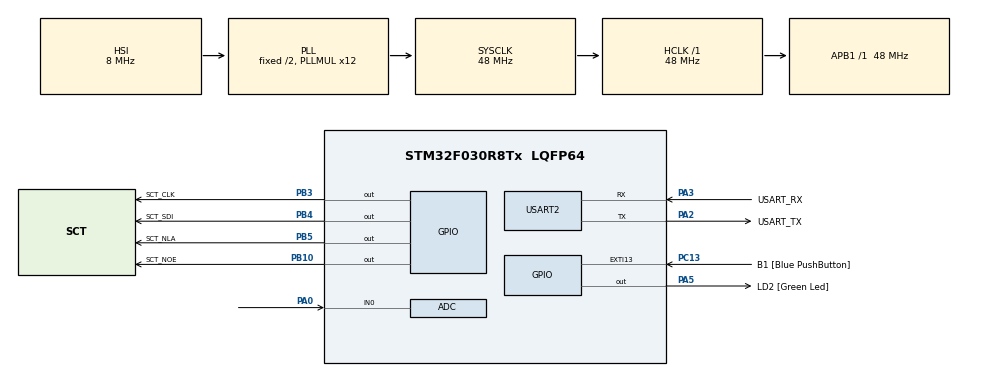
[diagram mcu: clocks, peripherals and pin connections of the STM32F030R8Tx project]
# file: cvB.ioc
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ADC.ContinuousConvMode=ENABLE
ADC.Overrun=ADC_OVR_DATA_OVERWRITTEN
ADC.SamplingTime=ADC_SAMPLETIME_239CYCLES_5
Mcu.Family=STM32F0
Mcu.Name=STM32F030R8Tx
Mcu.Package=LQFP64
NVIC.ADC1_IRQn=true\:0\:0\:false\:false\:true\:true\:true\:true
PA0.Mode=IN0
PA0.Signal=ADC_IN0
PA13.GPIO_Label=TMS
PA13.Mode=Serial_Wire
PA13.Signal=SYS_SWDIO
PA14.GPIO_Label=TCK
PA14.Mode=Serial_Wire
PA14.Signal=SYS_SWCLK
PA2.GPIO_Label=USART_TX
PA2.GPIO_Mode=GPIO_MODE_AF_PP
PA2.GPIO_PuPd=GPIO_NOPULL
PA2.GPIO_Speed=GPIO_SPEED_FREQ_LOW
PA2.Mode=Asynchronous
PA2.Signal=USART2_TX
PA3.GPIO_Label=USART_RX
PA3.GPIO_Mode=GPIO_MODE_AF_PP
PA3.GPIO_PuPd=GPIO_NOPULL
PA3.GPIO_Speed=GPIO_SPEED_FREQ_LOW
PA3.Mode=Asynchronous
PA3.Signal=USART2_RX
PA5.GPIO_Label=LD2 [Green Led]
PA5.GPIO_Mode=GPIO_MODE_OUTPUT_PP
PA5.GPIO_PuPd=GPIO_NOPULL
PA5.GPIO_Speed=GPIO_SPEED_FREQ_LOW
PA5.Signal=GPIO_Output
PB10.GPIO_Label=SCT_NOE
PB10.Signal=GPIO_Output
PB3.GPIO_Label=SCT_CLK
PB3.Signal=GPIO_Output
PB4.GPIO_Label=SCT_SDI
PB4.Signal=GPIO_Output
PB5.GPIO_Label=SCT_NLA
PB5.Signal=GPIO_Output
PC13.GPIO_Label=B1 [Blue PushButton]
PC13.GPIO_ModeDefaultEXTI=GPIO_MODE_IT_FALLING
PC13.Signal=GPXTI13
PC14-OSC32_IN.Mode=LSE-External-Oscillator
PC14-OSC32_IN.Signal=RCC_OSC32_IN
PC15-OSC32_OUT.Mode=LSE-External-Oscillator
PC15-OSC32_OUT.Signal=RCC_OSC32_OUT
PF0-OSC_IN.Mode=HSE-External-Clock-Source
PF0-OSC_IN.Signal=RCC_OSC_IN
PF1-OSC_OUT.Signal=RCC_OSC_OUT
ProjectManager.HeapSize=0x200
ProjectManager.StackSize=0x400
ProjectManager.TargetToolchain=STM32CubeIDE
RCC.AHBFreq_Value=48000000
RCC.APB1Freq_Value=48000000
RCC.APB1TimFreq_Value=48000000
RCC.HCLKFreq_Value=48000000
RCC.PLLMUL=RCC_PLL_MUL12
RCC.SYSCLKFreq_VALUE=48000000
RCC.SYSCLKSource=RCC_SYSCLKSOURCE_PLLCLK
USART2.VirtualMode-Asynchronous=VM_ASYNC
board=NUCLEO-F030R8

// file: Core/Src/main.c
/* USER CODE BEGIN Header */
/**
  ******************************************************************************
  * @file           : main.c
  * @brief          : Main program body
  ******************************************************************************
  * @attention
  *
  * Copyright (c) 2025 STMicroelectronics.
  * All rights reserved.
  *
  * This software is licensed under terms that can be found in the LICENSE file
  * in the root directory of this software component.
  * If no LICENSE file comes with this software, it is provided AS-IS.
  *
  ******************************************************************************
  */
/* USER CODE END Header */
#include "main.h"

/* USER CODE BEGIN Includes */
#include "sct.h"
#include <stdio.h>
/* USER CODE END Includes */

/* USER CODE BEGIN PD */
#define ADC_Q 12
/* USER CODE END PD */

ADC_HandleTypeDef hadc;

UART_HandleTypeDef huart2;

/* USER CODE BEGIN PV */
volatile uint16_t raw_pot;
/* USER CODE END PV */

void SystemClock_Config(void);
static void MX_GPIO_Init(void);
static void MX_USART2_UART_Init(void);
static void MX_ADC_Init(void);

/* USER CODE BEGIN 0 */
void HAL_ADC_ConvCpltCallback (ADC_HandleTypeDef * hadc)
{
	static uint32_t avg_pot;
	raw_pot = avg_pot >> ADC_Q;
	avg_pot -= raw_pot;
	avg_pot += HAL_ADC_GetValue(hadc);

}

int _write(int file, char const *buf, int n)
{
	/* stdout redirection to UART2 */
	HAL_UART_Transmit(&huart2, (uint8_t*)(buf), n, HAL_MAX_DELAY);
	return n;
}

/* USER CODE END 0 */

int main(void)
{

  /* MCU Configuration--------------------------------------------------------*/

  /* Reset of all peripherals, Initializes the Flash interface and the Systick. */
  HAL_Init();

  /* Configure the system clock */
  SystemClock_Config();

  /* Initialize all configured peripherals */
  MX_GPIO_Init();
  MX_USART2_UART_Init();
  MX_ADC_Init();
  /* USER CODE BEGIN 2 */
  HAL_ADCEx_Calibration_Start(&hadc);
  HAL_ADC_Start_IT(&hadc);

  sct_init();
  sct_value(333, 0, 0);
  /* USER CODE END 2 */

  /* Infinite loop */
  /* USER CODE BEGIN WHILE */
  while (1)
  {
	  static uint16_t adc_val;
	  static uint16_t adc_led;

	  adc_val = (raw_pot * 501) / 4096;
	  adc_led = (raw_pot * 9) / 4096;
	  sct_value(adc_val, adc_led, 0);

	  static volatile uint32_t cTime;
	  if (HAL_GetTick() > cTime + 500){
		  printf("%d - %d\r\n", raw_pot, adc_val);
		  cTime = HAL_GetTick();
	  }
	  /* USER CODE END WHILE */

  }
}

void SystemClock_Config(void)
{
  RCC_OscInitTypeDef RCC_OscInitStruct = {0};
  RCC_ClkInitTypeDef RCC_ClkInitStruct = {0};

  /** Initializes the RCC Oscillators according to the specified parameters
  * in the RCC_OscInitTypeDef structure.
  */
  RCC_OscInitStruct.OscillatorType = RCC_OSCILLATORTYPE_HSI|RCC_OSCILLATORTYPE_HSI14;
  RCC_OscInitStruct.HSIState = RCC_HSI_ON;
  RCC_OscInitStruct.HSI14State = RCC_HSI14_ON;
  RCC_OscInitStruct.HSICalibrationValue = RCC_HSICALIBRATION_DEFAULT;
  RCC_OscInitStruct.HSI14CalibrationValue = 16;
  RCC_OscInitStruct.PLL.PLLState = RCC_PLL_ON;
  RCC_OscInitStruct.PLL.PLLSource = RCC_PLLSOURCE_HSI;
  RCC_OscInitStruct.PLL.PLLMUL = RCC_PLL_MUL12;
  RCC_OscInitStruct.PLL.PREDIV = RCC_PREDIV_DIV1;
  if (HAL_RCC_OscConfig(&RCC_OscInitStruct) != HAL_OK)
  {
    Error_Handler();
  }

  /** Initializes the CPU, AHB and APB buses clocks
  */
  RCC_ClkInitStruct.ClockType = RCC_CLOCKTYPE_HCLK|RCC_CLOCKTYPE_SYSCLK
                              |RCC_CLOCKTYPE_PCLK1;
  RCC_ClkInitStruct.SYSCLKSource = RCC_SYSCLKSOURCE_PLLCLK;
  RCC_ClkInitStruct.AHBCLKDivider = RCC_SYSCLK_DIV1;
  RCC_ClkInitStruct.APB1CLKDivider = RCC_HCLK_DIV1;

  if (HAL_RCC_ClockConfig(&RCC_ClkInitStruct, FLASH_LATENCY_1) != HAL_OK)
  {
    Error_Handler();
  }
}

static void MX_ADC_Init(void)
{

  ADC_ChannelConfTypeDef sConfig = {0};

  /** Configure the global features of the ADC (Clock, Resolution, Data Alignment and number of conversion)
  */
  hadc.Instance = ADC1;
  hadc.Init.ClockPrescaler = ADC_CLOCK_ASYNC_DIV1;
  hadc.Init.Resolution = ADC_RESOLUTION_12B;
  hadc.Init.DataAlign = ADC_DATAALIGN_RIGHT;
  hadc.Init.ScanConvMode = ADC_SCAN_DIRECTION_FORWARD;
  hadc.Init.EOCSelection = ADC_EOC_SINGLE_CONV;
  hadc.Init.LowPowerAutoWait = DISABLE;
  hadc.Init.LowPowerAutoPowerOff = DISABLE;
  hadc.Init.ContinuousConvMode = ENABLE;
  hadc.Init.DiscontinuousConvMode = DISABLE;
  hadc.Init.ExternalTrigConv = ADC_SOFTWARE_START;
  hadc.Init.ExternalTrigConvEdge = ADC_EXTERNALTRIGCONVEDGE_NONE;
  hadc.Init.DMAContinuousRequests = DISABLE;
  hadc.Init.Overrun = ADC_OVR_DATA_OVERWRITTEN;
  if (HAL_ADC_Init(&hadc) != HAL_OK)
  {
    Error_Handler();
  }

  /** Configure for the selected ADC regular channel to be converted.
  */
  sConfig.Channel = ADC_CHANNEL_0;
  sConfig.Rank = ADC_RANK_CHANNEL_NUMBER;
  sConfig.SamplingTime = ADC_SAMPLETIME_239CYCLES_5;
  if (HAL_ADC_ConfigChannel(&hadc, &sConfig) != HAL_OK)
  {
    Error_Handler();
  }

}

static void MX_USART2_UART_Init(void)
{

  huart2.Instance = USART2;
  huart2.Init.BaudRate = 38400;
  huart2.Init.WordLength = UART_WORDLENGTH_8B;
  huart2.Init.StopBits = UART_STOPBITS_1;
  huart2.Init.Parity = UART_PARITY_NONE;
  huart2.Init.Mode = UART_MODE_TX_RX;
  huart2.Init.HwFlowCtl = UART_HWCONTROL_NONE;
  huart2.Init.OverSampling = UART_OVERSAMPLING_16;
  huart2.Init.OneBitSampling = UART_ONE_BIT_SAMPLE_DISABLE;
  huart2.AdvancedInit.AdvFeatureInit = UART_ADVFEATURE_NO_INIT;
  if (HAL_UART_Init(&huart2) != HAL_OK)
  {
    Error_Handler();
  }

}

static void MX_GPIO_Init(void)
{
  GPIO_InitTypeDef GPIO_InitStruct = {0};

  /* GPIO Ports Clock Enable */
  __HAL_RCC_GPIOC_CLK_ENABLE();
  __HAL_RCC_GPIOF_CLK_ENABLE();
  __HAL_RCC_GPIOA_CLK_ENABLE();
  __HAL_RCC_GPIOB_CLK_ENABLE();

  /*Configure GPIO pin Output Level */
  HAL_GPIO_WritePin(LD2_GPIO_Port, LD2_Pin, GPIO_PIN_RESET);

  /*Configure GPIO pin Output Level */
  HAL_GPIO_WritePin(GPIOB, SCT_NOE_Pin|SCT_CLK_Pin|SCT_SDI_Pin|SCT_NLA_Pin, GPIO_PIN_RESET);

  /*Configure GPIO pin : B1_Pin */
  GPIO_InitStruct.Pin = B1_Pin;
  GPIO_InitStruct.Mode = GPIO_MODE_IT_FALLING;
  GPIO_InitStruct.Pull = GPIO_NOPULL;
  HAL_GPIO_Init(B1_GPIO_Port, &GPIO_InitStruct);

  /*Configure GPIO pin : LD2_Pin */
  GPIO_InitStruct.Pin = LD2_Pin;
  GPIO_InitStruct.Mode = GPIO_MODE_OUTPUT_PP;
  GPIO_InitStruct.Pull = GPIO_NOPULL;
  GPIO_InitStruct.Speed = GPIO_SPEED_FREQ_LOW;
  HAL_GPIO_Init(LD2_GPIO_Port, &GPIO_InitStruct);

  /*Configure GPIO pins : SCT_NOE_Pin SCT_CLK_Pin SCT_SDI_Pin SCT_NLA_Pin */
  GPIO_InitStruct.Pin = SCT_NOE_Pin|SCT_CLK_Pin|SCT_SDI_Pin|SCT_NLA_Pin;
  GPIO_InitStruct.Mode = GPIO_MODE_OUTPUT_PP;
  GPIO_InitStruct.Pull = GPIO_NOPULL;
  GPIO_InitStruct.Speed = GPIO_SPEED_FREQ_LOW;
  HAL_GPIO_Init(GPIOB, &GPIO_InitStruct);

}

void Error_Handler(void)
{
  __disable_irq();
  while (1)
  {
  }
}
